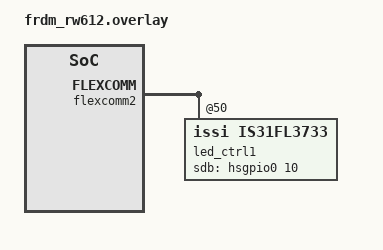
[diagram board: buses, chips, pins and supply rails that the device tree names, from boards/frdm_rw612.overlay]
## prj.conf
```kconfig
CONFIG_BT=y
CONFIG_LOG=y
CONFIG_BT_SMP=y
CONFIG_BT_PERIPHERAL=y
CONFIG_BT_DIS=y
CONFIG_BT_DIS_PNP=n
CONFIG_BT_BAS=y
CONFIG_BT_HRS=y
CONFIG_BT_DEVICE_NAME="Zephyr Heartrate Sensor"
CONFIG_BT_DEVICE_APPEARANCE=833

# LED driver support
CONFIG_LED=y

# I2C support for LED driver
CONFIG_I2C=y
```

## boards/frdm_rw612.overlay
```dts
/*
 * Copyright 2025 NXP
 *
 * SPDX-License-Identifier: Apache-2.0
 */

/* 

/* See boards\nxp\frdm_rw612_common.dtsi */
&flexcomm2 {
	led_ctrl1: is31fl3733@50 {
		reg = <0x50>;
		compatible = "issi,is31fl3733";
		sdb-gpios = <&hsgpio0 10 GPIO_ACTIVE_HIGH>;
	};
};
```

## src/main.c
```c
/* main.c - Application main entry point */

/*
 * Copyright (c) 2024 Nordic Semiconductor ASA
 * Copyright (c) 2015-2016 Intel Corporation
 *
 * SPDX-License-Identifier: Apache-2.0
 */

#include <zephyr/device.h>
#include <zephyr/devicetree.h>

#include <zephyr/bluetooth/bluetooth.h>
#include <zephyr/bluetooth/hci.h>
#include <zephyr/bluetooth/conn.h>
#include <zephyr/bluetooth/uuid.h>
#include <zephyr/bluetooth/gatt.h>
#include <zephyr/bluetooth/services/bas.h>
#include <zephyr/bluetooth/services/hrs.h>

//-------------- LED -------------------------------------------
#include <zephyr/drivers/led.h>
#include <zephyr/drivers/led/is31fl3733.h>

#define HW_ROW_COUNT 12
#define HW_COL_COUNT 16

#define CONFIG_LED_ROW_COUNT 12       // TODO move to Kconfig
#define CONFIG_LED_COLUMN_COUNT 16

/* LED matrix is addressed using a row major format */
#define LED_MATRIX_COORD(x, y) ((x) * HW_COL_COUNT) + (y)

static uint8_t led_state[HW_COL_COUNT * HW_ROW_COUNT];
const struct device *led_dev = DEVICE_DT_GET_ONE(issi_is31fl3733);

static bool bt_connected = false;

//----------------------------------------------------------------

const uint8_t nxp_scr[HW_ROW_COUNT * HW_COL_COUNT] = 
{
	 0, 0, 0, 0, 0, 0, 0, 0, 0, 0, 0, 0, 0, 0, 0, 0,
	 0, 0, 0, 0, 0, 0, 0, 0, 0, 0, 0, 0, 0, 0, 0, 0,
	 1, 0, 0, 0, 1, 0, 1, 0, 0, 1, 0, 1, 1, 1, 1, 0,
	 1, 1, 0, 0, 1, 0, 1, 0, 0, 1, 0, 1, 0, 0, 0, 1,
	 1, 0, 1, 0, 1, 0, 0, 1, 1, 0, 0, 1, 0, 0, 0, 1,
	 1, 0, 1, 0, 1, 0, 0, 1, 1, 0, 0, 1, 0, 0, 0, 1,
	 1, 0, 0, 1, 1, 0, 0, 1, 1, 0, 0, 1, 1, 1, 1, 0,
	 1, 0, 0, 1, 1, 0, 1, 0, 0, 1, 0, 1, 0, 0, 0, 0,
	 1, 0, 0, 0, 1, 0, 1, 0, 0, 1, 0, 1, 0, 0, 0, 0,
	 0, 0, 0, 0, 0, 0, 0, 0, 0, 0, 0, 0, 0, 0, 0, 0,
	 0, 0, 0, 0, 0, 0, 0, 0, 0, 0, 0, 0, 0, 0, 0, 0,
};		

const uint8_t bsh_scr[HW_ROW_COUNT * HW_COL_COUNT] = 
{
	0, 0, 0, 0, 0, 0, 0, 0, 0, 0, 0, 0, 0, 0, 0, 0,
	0, 0, 0, 0, 0, 0, 0, 0, 0, 0, 0, 0, 0, 0, 0, 0,
	1, 1, 1, 1, 0, 0, 0, 1, 1, 1, 0, 1, 0, 0, 0, 1,
	1, 0, 0, 0, 1, 0, 1, 0, 0, 0, 0, 1, 0, 0, 0, 1,
	1, 0, 0, 0, 1, 0, 1, 0, 0, 0, 0, 1, 0, 0, 0, 1,
	1, 1, 1, 1, 0, 0, 0, 1, 1, 0, 0, 1, 1, 1, 1, 1,
	1, 0, 0, 0, 1, 0, 0, 0, 0, 1, 0, 1, 0, 0, 0, 1,
	1, 0, 0, 0, 1, 0, 0, 0, 0, 1, 0, 1, 0, 0, 0, 1,
	1, 0, 0, 0, 1, 0, 0, 0, 0, 1, 0, 1, 0, 0, 0, 1,
	1, 1, 1, 1, 0, 0, 1, 1, 1, 0, 0, 1, 0, 0, 0, 1,
	0, 0, 0, 0, 0, 0, 0, 0, 0, 0, 0, 0, 0, 0, 0, 0,
	0, 0, 0, 0, 0, 0, 0, 0, 0, 0, 0, 0, 0, 0, 0, 0
};

const uint8_t zephyr_scr[HW_ROW_COUNT * HW_COL_COUNT] = 
{
	0, 0, 0, 0, 0, 0, 0, 0, 0, 0, 0, 0, 0, 0, 0, 0,
	0, 0, 0, 0, 0, 0, 0, 0, 0, 0, 0, 0, 0, 0, 0, 0,
	0, 0, 0, 0, 0, 0, 0, 0, 0, 0, 0, 0, 1, 0, 0, 0,
	1, 1, 1, 0, 0, 1, 0, 0, 1, 1, 0, 0, 1, 0, 0, 0,
	0, 0, 1, 0, 1, 0, 1, 0, 1, 0, 1, 0, 1, 0, 0, 0,
	0, 1, 0, 0, 1, 0, 1, 0, 1, 0, 1, 0, 1, 1, 0, 0,
	0, 1, 0, 0, 1, 1, 0, 0, 1, 1, 0, 0, 1, 0, 1, 0,
	1, 0, 0, 0, 1, 0, 0, 0, 1, 0, 0, 0, 1, 0, 1, 0,
	1, 1, 1, 0, 0, 1, 1, 0, 1, 0, 0, 0, 1, 0, 1, 0,
	0, 0, 0, 0, 0, 0, 0, 0, 1, 0, 0, 0, 0, 0, 0, 0,
	0, 0, 0, 0, 0, 0, 0, 0, 0, 0, 0, 0, 0, 0, 0, 0,
	0, 0, 0, 0, 0, 0, 0, 0, 0, 0, 0, 0, 0, 0, 0, 0
};

const uint8_t demo_scr[HW_ROW_COUNT * HW_COL_COUNT] = 
{
	0, 0, 0, 0, 0, 0, 0, 0, 0, 0, 0, 0, 0, 0, 0, 0,
	0, 0, 0, 0, 0, 0, 0, 0, 0, 0, 0, 0, 0, 0, 0, 0,
	1, 1, 0, 0, 1, 1, 1, 0, 1, 0, 0, 1, 0, 0, 1, 0,
	1, 0, 1, 0, 1, 0, 0, 0, 1, 1, 1, 1, 0, 1, 0, 1,
	1, 0, 1, 0, 1, 0, 0, 0, 1, 0, 0, 1, 0, 1, 0, 1,
	1, 0, 1, 0, 1, 1, 1, 0, 1, 0, 0, 1, 0, 1, 0, 1,
	1, 0, 1, 0, 1, 0, 0, 0, 1, 0, 0, 1, 0, 1, 0, 1,
	1, 0, 1, 0, 1, 0, 0, 0, 1, 0, 0, 1, 0, 1, 0, 1,
	1, 0, 1, 0, 1, 0, 0, 0, 1, 0, 0, 1, 0, 1, 0, 1,
	1, 1, 0, 0, 1, 1, 1, 0, 1, 0, 0, 1, 0, 0, 1, 0,
	0, 0, 0, 0, 0, 0, 0, 0, 0, 0, 0, 0, 0, 0, 0, 0,
	0, 0, 0, 0, 0, 0, 0, 0, 0, 0, 0, 0, 0, 0, 0, 0
};

const uint8_t clock_scr1[HW_ROW_COUNT * HW_COL_COUNT] = 
{
	0, 0, 0, 0, 0, 0, 0, 0, 0, 0, 0, 0, 0, 0, 0, 0,
	1, 1, 1, 0, 1, 1, 1, 0, 1, 1, 1, 0, 1, 1, 1, 0,
	0, 0, 1, 0, 0, 0, 1, 0, 0, 0, 1, 0, 0, 0, 1, 0,
	0, 0, 1, 0, 0, 0, 1, 1, 0, 0, 1, 0, 0, 0, 1, 0,
	0, 0, 1, 0, 0, 0, 1, 0, 0, 0, 1, 0, 0, 0, 1, 0,
	1, 1, 1, 0, 1, 1, 1, 0, 1, 1, 1, 0, 1, 1, 1, 0,
	1, 0, 0, 0, 1, 0, 0, 0, 1, 0, 0, 0, 1, 0, 0, 0,
	1, 0, 0, 0, 1, 0, 0, 1, 1, 0, 0, 0, 1, 0, 0, 0,
	1, 0, 0, 0, 1, 0, 0, 0, 1, 0, 0, 0, 1, 0, 0, 0,
	1, 1, 1, 0, 1, 1, 1, 0, 1, 1, 1, 0, 1, 1, 1, 0,
	0, 0, 0, 0, 0, 0, 0, 0, 0, 0, 0, 0, 0, 0, 0, 0,
	0, 0, 0, 0, 0, 0, 0, 0, 0, 0, 0, 0, 0, 0, 0, 0
};

const uint8_t clock_scr2[HW_ROW_COUNT * HW_COL_COUNT] = 
{
	0, 0, 0, 0, 0, 0, 0, 0, 0, 0, 0, 0, 0, 0, 0, 0,
	1, 1, 1, 0, 1, 1, 1, 0, 1, 1, 1, 0, 1, 1, 1, 0,
	0, 0, 1, 0, 0, 0, 1, 0, 0, 0, 1, 0, 0, 0, 1, 0,
	0, 0, 1, 0, 0, 0, 1, 0, 0, 0, 1, 0, 0, 0, 1, 0,
	0, 0, 1, 0, 0, 0, 1, 0, 0, 0, 1, 0, 0, 0, 1, 0,
	1, 1, 1, 0, 1, 1, 1, 0, 1, 1, 1, 0, 1, 1, 1, 0,
	1, 0, 0, 0, 1, 0, 0, 0, 1, 0, 0, 0, 0, 0, 1, 0,
	1, 0, 0, 0, 1, 0, 0, 0, 1, 0, 0, 0, 0, 0, 1, 0,
	1, 0, 0, 0, 1, 0, 0, 0, 1, 0, 0, 0, 0, 0, 1, 0,
	1, 1, 1, 0, 1, 1, 1, 0, 1, 1, 1, 0, 1, 1, 1, 0,
	0, 0, 0, 0, 0, 0, 0, 0, 0, 0, 0, 0, 0, 0, 0, 0,
	0, 0, 0, 0, 0, 0, 0, 0, 0, 0, 0, 0, 0, 0, 0, 0
};

const uint8_t clock_scr3[HW_ROW_COUNT * HW_COL_COUNT] = 
{
	0, 0, 0, 0, 0, 0, 0, 0, 0, 0, 0, 0, 0, 0, 0, 0,
	1, 1, 1, 0, 1, 1, 1, 0, 1, 1, 1, 0, 1, 0, 1, 0,
	0, 0, 1, 0, 0, 0, 1, 0, 0, 0, 1, 0, 1, 0, 1, 0,
	0, 0, 1, 0, 0, 0, 1, 1, 0, 0, 1, 0, 1, 0, 1, 0,
	0, 0, 1, 0, 0, 0, 1, 0, 0, 0, 1, 0, 1, 0, 1, 0,
	1, 1, 1, 0, 1, 1, 1, 0, 1, 1, 1, 0, 1, 1, 1, 0,
	1, 0, 0, 0, 1, 0, 0, 0, 1, 0, 0, 0, 0, 0, 1, 0,
	1, 0, 0, 0, 1, 0, 0, 1, 1, 0, 0, 0, 0, 0, 1, 0,
	1, 0, 0, 0, 1, 0, 0, 0, 1, 0, 0, 0, 0, 0, 1, 0,
	1, 1, 1, 0, 1, 1, 1, 0, 1, 1, 1, 0, 0, 0, 1, 0,
	0, 0, 0, 0, 0, 0, 0, 0, 0, 0, 0, 0, 0, 0, 0, 0,
	0, 0, 0, 0, 0, 0, 0, 0, 0, 0, 0, 0, 0, 0, 0, 0
};

#define	NUM_SCREENS 7
#define BRIGHT 20
uint8_t *display_scr[NUM_SCREENS];
//----------------------------------------------------------------

static bool hrf_ntf_enabled;


static const struct bt_data ad[] = {
	BT_DATA_BYTES(BT_DATA_FLAGS, (BT_LE_AD_GENERAL | BT_LE_AD_NO_BREDR)),
	BT_DATA_BYTES(BT_DATA_UUID16_ALL,
		      BT_UUID_16_ENCODE(BT_UUID_HRS_VAL),
		      BT_UUID_16_ENCODE(BT_UUID_BAS_VAL),
		      BT_UUID_16_ENCODE(BT_UUID_DIS_VAL)),
#if defined(CONFIG_BT_EXT_ADV)
	BT_DATA(BT_DATA_NAME_COMPLETE, CONFIG_BT_DEVICE_NAME, sizeof(CONFIG_BT_DEVICE_NAME) - 1),
#endif /* CONFIG_BT_EXT_ADV */
};

#if !defined(CONFIG_BT_EXT_ADV)
static const struct bt_data sd[] = {
	BT_DATA(BT_DATA_NAME_COMPLETE, CONFIG_BT_DEVICE_NAME, sizeof(CONFIG_BT_DEVICE_NAME) - 1),
};
#endif /* !CONFIG_BT_EXT_ADV */

enum {
	STATE_CONNECTED,
	STATE_DISCONNECTED,
	STATE_BITS,
};

static ATOMIC_DEFINE(state, STATE_BITS);

static void blink_start(void);
static void blink_stop(void);

//-------------- LED -------------------------------------------
static int led_brightness(const struct device *led, uint8_t val)
{
	int ret;
	uint8_t row, col;

	/* Set LED brightness to low value sequentially */
	printk("Set LEDs to half brightness sequentially\n");
	for (row = 0; row < CONFIG_LED_ROW_COUNT; row++) {
		for (col = 0; col < CONFIG_LED_COLUMN_COUNT; col++) {
			ret = led_set_brightness(led, LED_MATRIX_COORD(row, col), val);
			if (ret < 0) {
				printk("Error: could not enable led at [%d, %d]: (%d)\n",
					row, col, ret);
				return ret;
			}
			k_msleep(50); /* Reduced delay for BT responsiveness */
		}
	}
	return 0;
}

static int led_on_off(const struct device *led)
{
	int ret;
	uint8_t row, col;

	printk("Toggle each led\n");
	/* Turn on each led for a short duration */
	for (row = 0; row < CONFIG_LED_ROW_COUNT; row++) {
		for (col = 0; col < CONFIG_LED_COLUMN_COUNT; col++) {
			ret = led_off(led, LED_MATRIX_COORD(row, col));
			if (ret < 0) {
				printk("Error: could not disable led at [%d, %d]: (%d)\n",
					row, col, ret);
				return ret;
			}
			k_msleep(10); /* Reduced delay for BT responsiveness */
			ret = led_on(led, LED_MATRIX_COORD(row, col));
			if (ret < 0) {
				printk("Error: could not enable led at [%d, %d]: (%d)\n",
					row, col, ret);
				return ret;
			}
		}
	}
	k_msleep(500);
	return 0;
}

static void led_indicate_bt_status(void)
{
	if (!device_is_ready(led_dev)) {
		return;
	}

	if (bt_connected) {

		blink_start(); // Indicate BT connnection Green LED blink
	} 
	// BT connection lost -disconnected
	else {

		blink_stop(); // Indicate BT connection is Lost!
	}
}
//------------------ LED SHOW -----------------------------------

static void led_show_scr(const uint8_t *msg, uint8_t bright, uint8_t move)
{
	int ret;
	uint8_t row, col, idx=move;
	
	if (!device_is_ready(led_dev)) {
		return;
	}
	for (row = 0; row < CONFIG_LED_ROW_COUNT; row++) {
		for (col = CONFIG_LED_COLUMN_COUNT; col > 0; col--) {
			ret = led_off(led_dev, LED_MATRIX_COORD(row, col-1)); // Clr screen		    
			if(msg[idx] == 1)
			{
			  //ret = led_on(led_dev, LED_MATRIX_COORD(row, col-1));
			  ret = led_set_brightness(led_dev, LED_MATRIX_COORD(row, col-1), bright);
			}
			idx++;
		}
	}
}
//----------------------------------------------------------------

static void connected(struct bt_conn *conn, uint8_t err)
{
	if (err) {
		printk("Connection failed, err 0x%02x %s\n", err, bt_hci_err_to_str(err));
	} else {
		printk("Connected\n");

		(void)atomic_set_bit(state, STATE_CONNECTED);
                bt_connected = true;
	}
}

static void disconnected(struct bt_conn *conn, uint8_t reason)
{
	printk("Disconnected, reason 0x%02x %s\n", reason, bt_hci_err_to_str(reason));

	(void)atomic_set_bit(state, STATE_DISCONNECTED);
        bt_connected = false;
}

BT_CONN_CB_DEFINE(conn_callbacks) = {
	.connected = connected,
	.disconnected = disconnected,
};

static void hrs_ntf_changed(bool enabled)
{
	hrf_ntf_enabled = enabled;

	printk("HRS notification status changed: %s\n",
	       enabled ? "enabled" : "disabled");
}

static struct bt_hrs_cb hrs_cb = {
	.ntf_changed = hrs_ntf_changed,
};

static void auth_cancel(struct bt_conn *conn)
{
	char addr[BT_ADDR_LE_STR_LEN];

	bt_addr_le_to_str(bt_conn_get_dst(conn), addr, sizeof(addr));

	printk("Pairing cancelled: %s\n", addr);
}

static struct bt_conn_auth_cb auth_cb_display = {
	.cancel = auth_cancel,
};

static void bas_notify(void)
{
	uint8_t battery_level = bt_bas_get_battery_level();

	battery_level--;

	if (!battery_level) {
		battery_level = 100U;
	}

	bt_bas_set_battery_level(battery_level);
}

static void hrs_notify(void)
{
	static uint8_t heartrate = 90U;

	/* Heartrate measurements simulation */
	heartrate++;
	if (heartrate == 160U) {
		heartrate = 90U;
	}

	if (hrf_ntf_enabled) {
		bt_hrs_notify(heartrate);
	}
}

#if defined(CONFIG_GPIO)
/* The devicetree node identifier for the "led0" alias. */
#define LED0_NODE DT_ALIAS(led0)

#if DT_NODE_HAS_STATUS_OKAY(LED0_NODE)
#include <zephyr/drivers/gpio.h>
#define HAS_LED     1
static const struct gpio_dt_spec led = GPIO_DT_SPEC_GET(LED0_NODE, gpios);
#define BLINK_ONOFF K_MSEC(500)

static struct k_work_delayable blink_work;
static bool                  led_is_on;

static void blink_timeout(struct k_work *work)
{
	led_is_on = !led_is_on;
	gpio_pin_set(led.port, led.pin, (int)led_is_on);

	k_work_schedule(&blink_work, BLINK_ONOFF);
}

static int blink_setup(void)
{
	int err;

	printk("Checking LED device...");
	if (!gpio_is_ready_dt(&led)) {
		printk("failed.\n");
		return -EIO;
	}
	printk("done.\n");

	printk("Configuring GPIO pin...");
	err = gpio_pin_configure_dt(&led, GPIO_OUTPUT_ACTIVE);
	if (err) {
		printk("failed.\n");
		return -EIO;
	}
	printk("done.\n");

	k_work_init_delayable(&blink_work, blink_timeout);

	return 0;
}

static void blink_start(void)
{
	printk("Start blinking LED...\n");
	led_is_on = false;
	gpio_pin_set(led.port, led.pin, (int)led_is_on);
	k_work_schedule(&blink_work, BLINK_ONOFF);
}

static void blink_stop(void)
{
	struct k_work_sync work_sync;

	printk("Stop blinking LED.\n");
	k_work_cancel_delayable_sync(&blink_work, &work_sync);

	/* Keep LED on */
	//led_is_on = true;
	led_is_on = false;
	
	gpio_pin_set(led.port, led.pin, (int)led_is_on);
}
#endif /* LED0_NODE */
#endif /* CONFIG_GPIO */

int main(void)
{
	int err;
	uint8_t shift_text =0;
	uint8_t i;
	uint8_t scr=0;
	
	display_scr[0] = (uint8_t*)&nxp_scr;
	display_scr[1] = (uint8_t*)&bsh_scr;
	display_scr[2] = (uint8_t*)&zephyr_scr;
	display_scr[3] = (uint8_t*)&demo_scr;
	display_scr[4] = (uint8_t*)&clock_scr1;
	display_scr[5] = (uint8_t*)&clock_scr2;
	display_scr[6] = (uint8_t*)&clock_scr3;

    // LED display driver init
	if (!device_is_ready(led_dev)) {
		printk("Warning: LED device is not ready\n");
	} else {
		printk("LED device initialized\n");
	}

    // BT Init continues here
	err = bt_enable(NULL);
	if (err) {
		printk("Bluetooth init failed (err %d)\n", err);
		return 0;
	}

	printk("Bluetooth initialized\n");

	bt_conn_auth_cb_register(&auth_cb_display);

	bt_hrs_cb_register(&hrs_cb);

#if !defined(CONFIG_BT_EXT_ADV)
	printk("Starting Legacy Advertising (connectable and scannable)\n");
	err = bt_le_adv_start(BT_LE_ADV_CONN_FAST_1, ad, ARRAY_SIZE(ad), sd, ARRAY_SIZE(sd));
	if (err) {
		printk("Advertising failed to start (err %d)\n", err);
		return 0;
	}

#else /* CONFIG_BT_EXT_ADV */
	struct bt_le_adv_param adv_param = {
		.id = BT_ID_DEFAULT,
		.sid = 0U,
		.secondary_max_skip = 0U,
		.options = (BT_LE_ADV_OPT_EXT_ADV | BT_LE_ADV_OPT_CONN | BT_LE_ADV_OPT_CODED),
		.interval_min = BT_GAP_ADV_FAST_INT_MIN_2,
		.interval_max = BT_GAP_ADV_FAST_INT_MAX_2,
		.peer = NULL,
	};
	struct bt_le_ext_adv *adv;

	printk("Creating a Coded PHY connectable non-scannable advertising set\n");
	err = bt_le_ext_adv_create(&adv_param, NULL, &adv);
	if (err) {
		printk("Failed to create Coded PHY extended advertising set (err %d)\n", err);

		printk("Creating a non-Coded PHY connectable non-scannable advertising set\n");
		adv_param.options &= ~BT_LE_ADV_OPT_CODED;
		err = bt_le_ext_adv_create(&adv_param, NULL, &adv);
		if (err) {
			printk("Failed to create extended advertising set (err %d)\n", err);
			return 0;
		}
	}

	printk("Setting extended advertising data\n");
	err = bt_le_ext_adv_set_data(adv, ad, ARRAY_SIZE(ad), NULL, 0);
	if (err) {
		printk("Failed to set extended advertising data (err %d)\n", err);
		return 0;
	}

	printk("Starting Extended Advertising (connectable non-scannable)\n");
	err = bt_le_ext_adv_start(adv, BT_LE_EXT_ADV_START_DEFAULT);
	if (err) {
		printk("Failed to start extended advertising set (err %d)\n", err);
		return 0;
	}
#endif /* CONFIG_BT_EXT_ADV */

	printk("Advertising successfully started\n");

#if defined(HAS_LED)
	err = blink_setup();
	if (err) {
		return 0;
	}

	blink_stop(); // Indicate BT connection
#endif /* HAS_LED */

	/* Implement notification. */
	while (1) {
		k_sleep(K_MSEC(1000));

		/* Heartrate measurements simulation */
		hrs_notify();

		/* Battery level simulation */
		bas_notify();

        // LED display animations
        led_indicate_bt_status();

		//led_show_scr(nxp_scr, 0);
		//led_show_scr(display_scr[1], 0);

		led_show_scr(display_scr[scr], BRIGHT, 0);
		scr++;

        if (scr >= NUM_SCREENS) 
		{
			
			/*
			for(i=BRIGHT;i<100;i++){
				//i++;
            	led_show_scr(clock_scr3, i, 0); // Brightness ramp up
				k_msleep(5);
			}
			*/
			
			for(i=BRIGHT;i>0;i--){
            	led_show_scr(clock_scr3, i, 0); // Brightness ramp down
				k_msleep(5);
			}
			for(i=0;i<100;i++){
				i++;
            	led_show_scr(clock_scr3, i, 0); // Brightness ramp up
				k_msleep(5);
			}
		scr = 0U;
		}
		
		if (atomic_test_and_clear_bit(state, STATE_CONNECTED)) {
			/* Connected callback executed */

#if defined(HAS_LED)
			blink_stop();
#endif /* HAS_LED */
		} else if (atomic_test_and_clear_bit(state, STATE_DISCONNECTED)) {
#if !defined(CONFIG_BT_EXT_ADV)
			printk("Starting Legacy Advertising (connectable and scannable)\n");
			err = bt_le_adv_start(BT_LE_ADV_CONN_FAST_1, ad, ARRAY_SIZE(ad), sd,
					      ARRAY_SIZE(sd));
			if (err) {
				printk("Advertising failed to start (err %d)\n", err);
				return 0;
			}

#else /* CONFIG_BT_EXT_ADV */
			printk("Starting Extended Advertising (connectable and non-scannable)\n");
			err = bt_le_ext_adv_start(adv, BT_LE_EXT_ADV_START_DEFAULT);
			if (err) {
				printk("Failed to start extended advertising set (err %d)\n", err);
				return 0;
			}
#endif /* CONFIG_BT_EXT_ADV */

#if defined(HAS_LED)
			blink_start();
#endif /* HAS_LED */
		}
	}

	return 0;
}
```
